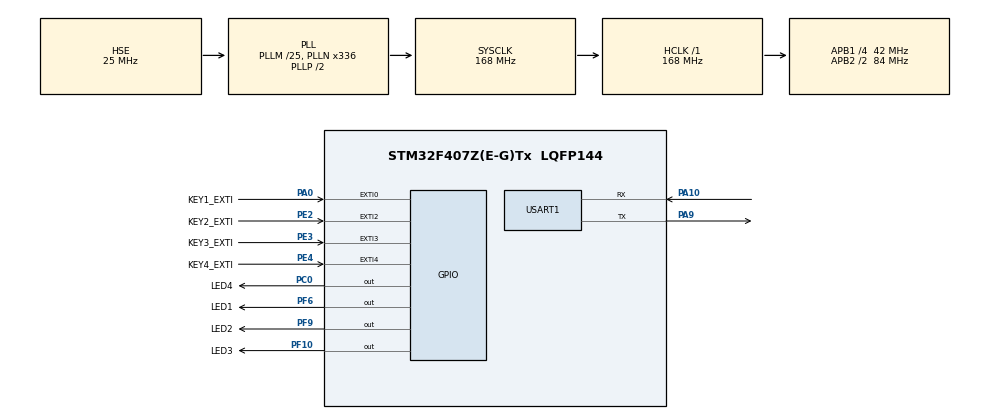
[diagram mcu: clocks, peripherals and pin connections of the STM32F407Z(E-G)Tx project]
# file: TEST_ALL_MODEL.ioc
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Mcu.Family=STM32F4
Mcu.Name=STM32F407Z(E-G)Tx
Mcu.Package=LQFP144
NVIC.EXTI0_IRQn=true\:2\:0\:true\:false\:true\:true\:true\:true
NVIC.EXTI2_IRQn=true\:2\:1\:true\:false\:true\:true\:true\:true
NVIC.EXTI3_IRQn=true\:2\:2\:true\:false\:true\:true\:true\:true
NVIC.EXTI4_IRQn=true\:2\:3\:true\:false\:true\:true\:true\:true
NVIC.PriorityGroup=NVIC_PRIORITYGROUP_2
NVIC.USART1_IRQn=true\:1\:0\:true\:false\:true\:true\:true\:true
PA0-WKUP.GPIO_Label=KEY1_EXTI
PA0-WKUP.GPIO_ModeDefaultEXTI=GPIO_MODE_IT_RISING
PA0-WKUP.Signal=GPXTI0
PA10.Mode=Asynchronous
PA10.Signal=USART1_RX
PA13.Mode=Trace_Asynchronous_SW
PA13.Signal=SYS_JTMS-SWDIO
PA14.Mode=Trace_Asynchronous_SW
PA14.Signal=SYS_JTCK-SWCLK
PA9.Mode=Asynchronous
PA9.Signal=USART1_TX
PB3.Mode=Trace_Asynchronous_SW
PB3.Signal=SYS_JTDO-SWO
PC0.GPIO_Label=LED4
PC0.PinState=GPIO_PIN_SET
PC0.Signal=GPIO_Output
PC14-OSC32_IN.Mode=LSE-External-Oscillator
PC14-OSC32_IN.Signal=RCC_OSC32_IN
PC15-OSC32_OUT.Mode=LSE-External-Oscillator
PC15-OSC32_OUT.Signal=RCC_OSC32_OUT
PE2.GPIO_Label=KEY2_EXTI
PE2.GPIO_ModeDefaultEXTI=GPIO_MODE_IT_FALLING
PE2.Signal=GPXTI2
PE3.GPIO_Label=KEY3_EXTI
PE3.GPIO_ModeDefaultEXTI=GPIO_MODE_IT_FALLING
PE3.Signal=GPXTI3
PE4.GPIO_Label=KEY4_EXTI
PE4.GPIO_ModeDefaultEXTI=GPIO_MODE_IT_FALLING
PE4.Signal=GPXTI4
PF10.GPIO_Label=LED3
PF10.PinState=GPIO_PIN_SET
PF10.Signal=GPIO_Output
PF6.GPIO_Label=LED1
PF6.PinState=GPIO_PIN_SET
PF6.Signal=GPIO_Output
PF9.GPIO_Label=LED2
PF9.PinState=GPIO_PIN_SET
PF9.Signal=GPIO_Output
PH0-OSC_IN.Mode=HSE-External-Oscillator
PH0-OSC_IN.Signal=RCC_OSC_IN
PH1-OSC_OUT.Mode=HSE-External-Oscillator
PH1-OSC_OUT.Signal=RCC_OSC_OUT
ProjectManager.HeapSize=0x200
ProjectManager.StackSize=0x400
ProjectManager.TargetToolchain=MDK-ARM V5.32
RCC.48MHZClocksFreq_Value=84000000
RCC.AHBFreq_Value=168000000
RCC.APB1CLKDivider=RCC_HCLK_DIV4
RCC.APB1Freq_Value=42000000
RCC.APB1TimFreq_Value=84000000
RCC.APB2CLKDivider=RCC_HCLK_DIV2
RCC.APB2Freq_Value=84000000
RCC.APB2TimFreq_Value=168000000
RCC.CortexFreq_Value=168000000
RCC.HCLKFreq_Value=168000000
RCC.HSE_VALUE=25000000
RCC.HSI_VALUE=16000000
RCC.PLLM=25
RCC.PLLN=336
RCC.PLLSourceVirtual=RCC_PLLSOURCE_HSE
RCC.SYSCLKFreq_VALUE=168000000
RCC.SYSCLKSource=RCC_SYSCLKSOURCE_PLLCLK
RCC.VCOOutputFreq_Value=336000000
USART1.VirtualMode=VM_ASYNC
board=custom

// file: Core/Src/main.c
/* USER CODE BEGIN Header */
/**
  ******************************************************************************
  * @file           : main.c
  * @brief          : Main program body
  ******************************************************************************
  * @attention
  *
  * Copyright (c) 2023 STMicroelectronics.
  * All rights reserved.
  *
  * This software is licensed under terms that can be found in the LICENSE file
  * in the root directory of this software component.
  * If no LICENSE file comes with this software, it is provided AS-IS.
  *
  ******************************************************************************
  */
/* USER CODE END Header */
#include "main.h"
#include "usart.h"
#include "gpio.h"

void SystemClock_Config(void);

int main(void)
{
  /* USER CODE BEGIN 1 */
  uint8_t len;
  uint16_t times = 0;
  uint8_t str[] = {"初始化完成!\r\n"};
  /* USER CODE END 1 */

  /* MCU Configuration--------------------------------------------------------*/

  /* Reset of all peripherals, Initializes the Flash interface and the Systick. */
  HAL_Init();

  /* Configure the system clock */
  SystemClock_Config();

  /* Initialize all configured peripherals */
  MX_GPIO_Init();
  MX_USART1_UART_Init();

  /* Infinite loop */
  /* USER CODE BEGIN WHILE */
  HAL_UART_Transmit(&huart1,str,sizeof(str)-1,1000);
  while (1)
  {

    if(USART_RX_STA&0x8000)
    {
      len = USART_RX_STA& 0x3fff;
      printf("\r\n你发送的消息为：\r\n");
      HAL_UART_Transmit(&huart1,(uint8_t *)USART_RX_BUF,len,1000);
      while(__HAL_UART_GET_FLAG(&huart1,UART_FLAG_TC) != SET);//发送不完成就一直等待

      printf("\r\n\r\n");
      USART_RX_STA = 0;

    }
    else
    {
      times++;
      if(times % 5000 == 0)
      {
        printf("\r\nSTM32开发板串口实验\r\n");

      }
      if(times % 200 == 0)
        printf("请输入数据,以回车键结束\r\n");
      if (times % 30 == 0) HAL_GPIO_TogglePin(LED1_GPIO_Port,LED1_Pin); /* 闪烁 LED,提示系统正在运行. */

      HAL_Delay(10);
    }
    /* USER CODE END WHILE */
  }
}

void SystemClock_Config(void)
{
  RCC_OscInitTypeDef RCC_OscInitStruct = {0};
  RCC_ClkInitTypeDef RCC_ClkInitStruct = {0};

  /** Configure the main internal regulator output voltage
  */
  __HAL_RCC_PWR_CLK_ENABLE();
  __HAL_PWR_VOLTAGESCALING_CONFIG(PWR_REGULATOR_VOLTAGE_SCALE1);

  /** Initializes the RCC Oscillators according to the specified parameters
  * in the RCC_OscInitTypeDef structure.
  */
  RCC_OscInitStruct.OscillatorType = RCC_OSCILLATORTYPE_HSE;
  RCC_OscInitStruct.HSEState = RCC_HSE_ON;
  RCC_OscInitStruct.PLL.PLLState = RCC_PLL_ON;
  RCC_OscInitStruct.PLL.PLLSource = RCC_PLLSOURCE_HSE;
  RCC_OscInitStruct.PLL.PLLM = 25;
  RCC_OscInitStruct.PLL.PLLN = 336;
  RCC_OscInitStruct.PLL.PLLP = RCC_PLLP_DIV2;
  RCC_OscInitStruct.PLL.PLLQ = 4;
  if (HAL_RCC_OscConfig(&RCC_OscInitStruct) != HAL_OK)
  {
    Error_Handler();
  }

  /** Initializes the CPU, AHB and APB buses clocks
  */
  RCC_ClkInitStruct.ClockType = RCC_CLOCKTYPE_HCLK|RCC_CLOCKTYPE_SYSCLK
                              |RCC_CLOCKTYPE_PCLK1|RCC_CLOCKTYPE_PCLK2;
  RCC_ClkInitStruct.SYSCLKSource = RCC_SYSCLKSOURCE_PLLCLK;
  RCC_ClkInitStruct.AHBCLKDivider = RCC_SYSCLK_DIV1;
  RCC_ClkInitStruct.APB1CLKDivider = RCC_HCLK_DIV4;
  RCC_ClkInitStruct.APB2CLKDivider = RCC_HCLK_DIV2;

  if (HAL_RCC_ClockConfig(&RCC_ClkInitStruct, FLASH_LATENCY_5) != HAL_OK)
  {
    Error_Handler();
  }
}

void Error_Handler(void)
{
  __disable_irq();
  while (1)
  {
  }
}
